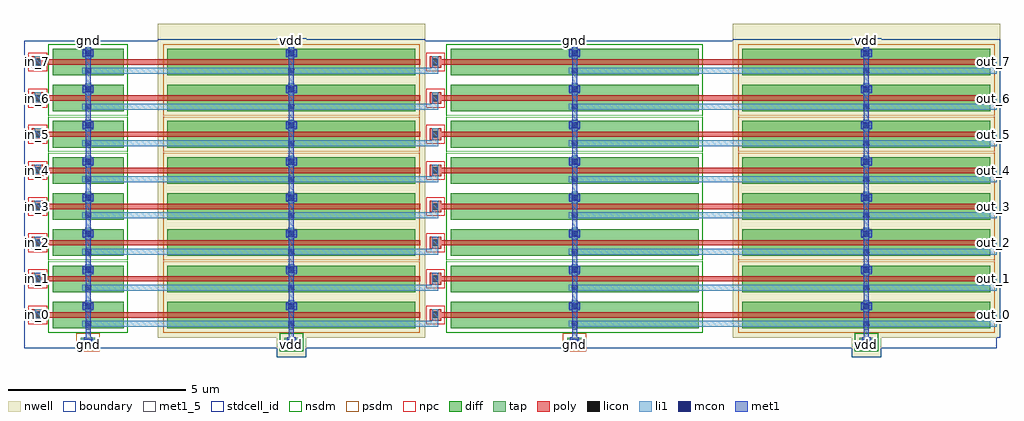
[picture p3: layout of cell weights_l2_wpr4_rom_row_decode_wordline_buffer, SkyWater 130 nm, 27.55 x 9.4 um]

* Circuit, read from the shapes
.subckt weights_l2_wpr4_rom_row_decode_wordline_buffer gnd in_0 in_1 in_2 in_3 in_4 in_5 in_6 in_7 out_0 out_1 out_2 out_3 out_4 out_5 out_6 out_7 vdd
XM1 gnd in_0 weights_l2_wpr4_pbuf_dec_0/weights_l2_wpr4_pinv_dec_1_1/A gnd sky130_fd_pr__nfet_01v8 w=2 l=0.15
XM2 gnd in_1 weights_l2_wpr4_pbuf_dec_1/weights_l2_wpr4_pinv_dec_1_1/A gnd sky130_fd_pr__nfet_01v8 w=2 l=0.15
XM3 gnd in_2 weights_l2_wpr4_pbuf_dec_2/weights_l2_wpr4_pinv_dec_1_1/A gnd sky130_fd_pr__nfet_01v8 w=2 l=0.15
XM4 gnd in_3 weights_l2_wpr4_pbuf_dec_3/weights_l2_wpr4_pinv_dec_1_1/A gnd sky130_fd_pr__nfet_01v8 w=2 l=0.15
XM5 gnd in_4 weights_l2_wpr4_pbuf_dec_4/weights_l2_wpr4_pinv_dec_1_1/A gnd sky130_fd_pr__nfet_01v8 w=2 l=0.15
XM6 gnd in_5 weights_l2_wpr4_pbuf_dec_5/weights_l2_wpr4_pinv_dec_1_1/A gnd sky130_fd_pr__nfet_01v8 w=2 l=0.15
XM7 gnd in_6 weights_l2_wpr4_pbuf_dec_6/weights_l2_wpr4_pinv_dec_1_1/A gnd sky130_fd_pr__nfet_01v8 w=2 l=0.15
XM8 gnd in_7 weights_l2_wpr4_pbuf_dec_7/weights_l2_wpr4_pinv_dec_1_1/A gnd sky130_fd_pr__nfet_01v8 w=2 l=0.15
XM9 gnd weights_l2_wpr4_pbuf_dec_0/weights_l2_wpr4_pinv_dec_1_1/A out_0 gnd sky130_fd_pr__nfet_01v8 w=7 l=0.15
XM10 gnd weights_l2_wpr4_pbuf_dec_1/weights_l2_wpr4_pinv_dec_1_1/A out_1 gnd sky130_fd_pr__nfet_01v8 w=7 l=0.15
XM11 gnd weights_l2_wpr4_pbuf_dec_2/weights_l2_wpr4_pinv_dec_1_1/A out_2 gnd sky130_fd_pr__nfet_01v8 w=7 l=0.15
XM12 gnd weights_l2_wpr4_pbuf_dec_3/weights_l2_wpr4_pinv_dec_1_1/A out_3 gnd sky130_fd_pr__nfet_01v8 w=7 l=0.15
XM13 gnd weights_l2_wpr4_pbuf_dec_4/weights_l2_wpr4_pinv_dec_1_1/A out_4 gnd sky130_fd_pr__nfet_01v8 w=7 l=0.15
XM14 gnd weights_l2_wpr4_pbuf_dec_5/weights_l2_wpr4_pinv_dec_1_1/A out_5 gnd sky130_fd_pr__nfet_01v8 w=7 l=0.15
XM15 gnd weights_l2_wpr4_pbuf_dec_6/weights_l2_wpr4_pinv_dec_1_1/A out_6 gnd sky130_fd_pr__nfet_01v8 w=7 l=0.15
XM16 gnd weights_l2_wpr4_pbuf_dec_7/weights_l2_wpr4_pinv_dec_1_1/A out_7 gnd sky130_fd_pr__nfet_01v8 w=7 l=0.15
XM17 vdd in_0 weights_l2_wpr4_pbuf_dec_0/weights_l2_wpr4_pinv_dec_1_1/A vdd sky130_fd_pr__pfet_01v8 w=7 l=0.15
XM18 vdd in_1 weights_l2_wpr4_pbuf_dec_1/weights_l2_wpr4_pinv_dec_1_1/A vdd sky130_fd_pr__pfet_01v8 w=7 l=0.15
XM19 vdd in_2 weights_l2_wpr4_pbuf_dec_2/weights_l2_wpr4_pinv_dec_1_1/A vdd sky130_fd_pr__pfet_01v8 w=7 l=0.15
XM20 vdd in_3 weights_l2_wpr4_pbuf_dec_3/weights_l2_wpr4_pinv_dec_1_1/A vdd sky130_fd_pr__pfet_01v8 w=7 l=0.15
XM21 vdd in_4 weights_l2_wpr4_pbuf_dec_4/weights_l2_wpr4_pinv_dec_1_1/A vdd sky130_fd_pr__pfet_01v8 w=7 l=0.15
XM22 vdd in_5 weights_l2_wpr4_pbuf_dec_5/weights_l2_wpr4_pinv_dec_1_1/A vdd sky130_fd_pr__pfet_01v8 w=7 l=0.15
XM23 vdd in_6 weights_l2_wpr4_pbuf_dec_6/weights_l2_wpr4_pinv_dec_1_1/A vdd sky130_fd_pr__pfet_01v8 w=7 l=0.15
XM24 vdd in_7 weights_l2_wpr4_pbuf_dec_7/weights_l2_wpr4_pinv_dec_1_1/A vdd sky130_fd_pr__pfet_01v8 w=7 l=0.15
XM25 vdd weights_l2_wpr4_pbuf_dec_0/weights_l2_wpr4_pinv_dec_1_1/A out_0 vdd sky130_fd_pr__pfet_01v8 w=7 l=0.15
XM26 vdd weights_l2_wpr4_pbuf_dec_1/weights_l2_wpr4_pinv_dec_1_1/A out_1 vdd sky130_fd_pr__pfet_01v8 w=7 l=0.15
XM27 vdd weights_l2_wpr4_pbuf_dec_2/weights_l2_wpr4_pinv_dec_1_1/A out_2 vdd sky130_fd_pr__pfet_01v8 w=7 l=0.15
XM28 vdd weights_l2_wpr4_pbuf_dec_3/weights_l2_wpr4_pinv_dec_1_1/A out_3 vdd sky130_fd_pr__pfet_01v8 w=7 l=0.15
XM29 vdd weights_l2_wpr4_pbuf_dec_4/weights_l2_wpr4_pinv_dec_1_1/A out_4 vdd sky130_fd_pr__pfet_01v8 w=7 l=0.15
XM30 vdd weights_l2_wpr4_pbuf_dec_5/weights_l2_wpr4_pinv_dec_1_1/A out_5 vdd sky130_fd_pr__pfet_01v8 w=7 l=0.15
XM31 vdd weights_l2_wpr4_pbuf_dec_6/weights_l2_wpr4_pinv_dec_1_1/A out_6 vdd sky130_fd_pr__pfet_01v8 w=7 l=0.15
XM32 vdd weights_l2_wpr4_pbuf_dec_7/weights_l2_wpr4_pinv_dec_1_1/A out_7 vdd sky130_fd_pr__pfet_01v8 w=7 l=0.15
.ends

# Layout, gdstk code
from math import pi, radians
import gdstk
lib = gdstk.Library(unit=1e-6, precision=1e-09)
def R(c, l, rs):  # rectangles x0, y0, x1, y1
    for r in rs: c.add(gdstk.rectangle(r[:2], r[2:], *l))
def A(c, l, x, y, w, h, nx, ny, dx, dy):  # array of equal rectangles
    R(c, l, [(x+i*dx, y+j*dy, x+i*dx+w, y+j*dy+h) for i in range(nx) for j in range(ny)])
nwell = (64, 20)
diff = (65, 20)
tap = (65, 44)
poly = (66, 20)
licon = (66, 44)
li1 = (67, 20)
mcon = (67, 44)
met1_5 = (68, 5)
met1 = (68, 20)
stdcell_id = (81, 4)
nsdm = (93, 44)
psdm = (94, 20)
npc = (95, 20)
boundary = (235, 4)

weights_l2_wpr4_contact_ = lib.new_cell('weights_l2_wpr4_contact_10')
R(weights_l2_wpr4_contact_, nwell, [(-0.295,-0.255,0.545,0.585)])
R(weights_l2_wpr4_contact_, diff, [(0,0.02,0.25,0.31)])
R(weights_l2_wpr4_contact_, licon, [(0.04,0.08,0.21,0.25)])
R(weights_l2_wpr4_contact_, li1, [(0.04,0,0.21,0.33)])
R(weights_l2_wpr4_contact_, stdcell_id, [(-0.295,-0.255,0.545,0.585)])
R(weights_l2_wpr4_contact_, psdm, [(-0.125,-0.105,0.375,0.435)])
R(weights_l2_wpr4_contact_, boundary, [(-0.295,-0.255,0.545,0.585)])

weights_l2_wpr4_pmos_m1_ = lib.new_cell('weights_l2_wpr4_pmos_m1_w7_000_sli_dli_da_p')
R(weights_l2_wpr4_pmos_m1_, nwell, [(-0.27,-0.27,1.02,7.27)])
R(weights_l2_wpr4_pmos_m1_, diff, [(0,0,0.75,7)])
R(weights_l2_wpr4_pmos_m1_, poly, [(0.3,-0.13,0.45,7.13), (0.3,-0.13,0.45,7.13)])
R(weights_l2_wpr4_pmos_m1_, li1, [(0.04,3.335,0.21,3.665), (0.54,3.335,0.71,3.665)])
R(weights_l2_wpr4_pmos_m1_, stdcell_id, [(-0.27,-0.27,1.02,7.27)])
R(weights_l2_wpr4_pmos_m1_, psdm, [(-0.125,-0.125,0.875,7.125)])
R(weights_l2_wpr4_pmos_m1_, boundary, [(-0.27,-0.27,1.02,7.27)])
weights_l2_wpr4_pmos_m1_.add(gdstk.Reference(weights_l2_wpr4_contact_, (0,3.335)))
weights_l2_wpr4_pmos_m1_.add(gdstk.Reference(weights_l2_wpr4_contact_, (0.5,3.335)))
weights_l2_wpr4_pmos_m1_.add(gdstk.Label('G', (0.375,3.5), layer=66, texttype=5))
weights_l2_wpr4_pmos_m1_.add(gdstk.Label('S', (0.125,3.5), layer=67, texttype=5))
weights_l2_wpr4_pmos_m1_.add(gdstk.Label('D', (0.625,3.5), layer=67, texttype=5))

c_weights_l2_wpr4_contact_ = lib.new_cell('weights_l2_wpr4_contact_8')
R(c_weights_l2_wpr4_contact_, diff, [(0,0.02,0.25,0.31)])
R(c_weights_l2_wpr4_contact_, licon, [(0.04,0.08,0.21,0.25)])
R(c_weights_l2_wpr4_contact_, li1, [(0.04,0,0.21,0.33)])
R(c_weights_l2_wpr4_contact_, stdcell_id, [(-0.125,-0.105,0.375,0.435)])
R(c_weights_l2_wpr4_contact_, nsdm, [(-0.125,-0.105,0.375,0.435)])
R(c_weights_l2_wpr4_contact_, boundary, [(-0.125,-0.105,0.375,0.435)])

weights_l2_wpr4_nmos_m1_ = lib.new_cell('weights_l2_wpr4_nmos_m1_w2_000_sli_dli_da_p')
R(weights_l2_wpr4_nmos_m1_, diff, [(0,0,0.75,2)])
R(weights_l2_wpr4_nmos_m1_, poly, [(0.3,-0.13,0.45,2.13), (0.3,-0.13,0.45,2.13)])
R(weights_l2_wpr4_nmos_m1_, li1, [(0.04,0.835,0.21,1.165), (0.54,0.835,0.71,1.165)])
R(weights_l2_wpr4_nmos_m1_, stdcell_id, [(-0.125,-0.13,0.875,2.13)])
R(weights_l2_wpr4_nmos_m1_, nsdm, [(-0.125,-0.125,0.875,2.125)])
R(weights_l2_wpr4_nmos_m1_, boundary, [(-0.125,-0.13,0.875,2.13)])
weights_l2_wpr4_nmos_m1_.add(gdstk.Reference(c_weights_l2_wpr4_contact_, (0,0.835)))
weights_l2_wpr4_nmos_m1_.add(gdstk.Reference(c_weights_l2_wpr4_contact_, (0.5,0.835)))
weights_l2_wpr4_nmos_m1_.add(gdstk.Label('G', (0.375,1), layer=66, texttype=5))
weights_l2_wpr4_nmos_m1_.add(gdstk.Label('S', (0.125,1), layer=67, texttype=5))
weights_l2_wpr4_nmos_m1_.add(gdstk.Label('D', (0.625,1), layer=67, texttype=5))

c_weights_l2_wpr4_contact__ = lib.new_cell('weights_l2_wpr4_contact_11')
R(c_weights_l2_wpr4_contact__, poly, [(0,0,0.33,0.33)])
R(c_weights_l2_wpr4_contact__, licon, [(0.08,0.08,0.25,0.25)])
R(c_weights_l2_wpr4_contact__, li1, [(0.08,0,0.25,0.33)])
R(c_weights_l2_wpr4_contact__, stdcell_id, [(-0.1,-0.1,0.43,0.43)])
R(c_weights_l2_wpr4_contact__, npc, [(-0.1,-0.1,0.43,0.43)])
R(c_weights_l2_wpr4_contact__, boundary, [(-0.1,-0.1,0.43,0.43)])

c_weights_l2_wpr4_contact___ = lib.new_cell('weights_l2_wpr4_contact_12')
R(c_weights_l2_wpr4_contact___, li1, [(0.06,0,0.23,0.33)])
R(c_weights_l2_wpr4_contact___, mcon, [(0.06,0.08,0.23,0.25)])
R(c_weights_l2_wpr4_contact___, met1, [(0,0.05,0.29,0.28)])
R(c_weights_l2_wpr4_contact___, stdcell_id, [(0,0,0.29,0.33)])
R(c_weights_l2_wpr4_contact___, boundary, [(0,0,0.29,0.33)])

weights_l2_wpr4_pinv_dec = lib.new_cell('weights_l2_wpr4_pinv_dec_0')
R(weights_l2_wpr4_pinv_dec, nwell, [(3.78,0,11.32,1.495)])
R(weights_l2_wpr4_pinv_dec, poly, [(0.385,0.345,0.68,0.495), (2.94,0.345,3.92,0.495)])
R(weights_l2_wpr4_pinv_dec, li1, [(1.645,0.085,11.23,0.255), (0.3,0.255,0.47,0.585)])
R(weights_l2_wpr4_pinv_dec, met1_5, [(1.74,0,1.88,1.02), (7.48,0,7.62,1.02)])
R(weights_l2_wpr4_pinv_dec, met1, [(1.74,0,1.88,1.02), (7.48,0,7.62,1.02)])
R(weights_l2_wpr4_pinv_dec, stdcell_id, [(0,0,11.23,1.02), (0,0,11.23,1.02)])
R(weights_l2_wpr4_pinv_dec, nsdm, [(0.685,0,2.935,0.795)])
R(weights_l2_wpr4_pinv_dec, psdm, [(3.925,0,11.175,0.795)])
R(weights_l2_wpr4_pinv_dec, boundary, [(0,0,11.23,1.02), (0,0,11.23,1.02)])
weights_l2_wpr4_pinv_dec.add(gdstk.Reference(weights_l2_wpr4_pmos_m1_, (4.05,0.795), rotation=3*pi/2))
weights_l2_wpr4_pinv_dec.add(gdstk.Reference(weights_l2_wpr4_nmos_m1_, (0.81,0.795), rotation=3*pi/2))
weights_l2_wpr4_pinv_dec.add(gdstk.Reference(c_weights_l2_wpr4_contact__, (0.22,0.255)))
weights_l2_wpr4_pinv_dec.add(gdstk.Reference(c_weights_l2_wpr4_contact___, (1.665,0.505)))
weights_l2_wpr4_pinv_dec.add(gdstk.Reference(c_weights_l2_wpr4_contact___, (7.405,0.505)))
weights_l2_wpr4_pinv_dec.add(gdstk.Label('A', (0.385,0.42), layer=67, texttype=5))
weights_l2_wpr4_pinv_dec.add(gdstk.Label('Z', (6.438,0.17), layer=67, texttype=5))
weights_l2_wpr4_pinv_dec.add(gdstk.Label('gnd', (1.81,0.51), layer=68, texttype=5))
weights_l2_wpr4_pinv_dec.add(gdstk.Label('vdd', (7.55,0.51), layer=68, texttype=5))

c_weights_l2_wpr4_nmos_m1_ = lib.new_cell('weights_l2_wpr4_nmos_m1_w7_000_sli_dli_da_p')
R(c_weights_l2_wpr4_nmos_m1_, diff, [(0,0,0.75,7)])
R(c_weights_l2_wpr4_nmos_m1_, poly, [(0.3,-0.13,0.45,7.13), (0.3,-0.13,0.45,7.13)])
R(c_weights_l2_wpr4_nmos_m1_, li1, [(0.04,3.335,0.21,3.665), (0.54,3.335,0.71,3.665)])
R(c_weights_l2_wpr4_nmos_m1_, stdcell_id, [(-0.125,-0.13,0.875,7.13)])
R(c_weights_l2_wpr4_nmos_m1_, nsdm, [(-0.125,-0.125,0.875,7.125)])
R(c_weights_l2_wpr4_nmos_m1_, boundary, [(-0.125,-0.13,0.875,7.13)])
c_weights_l2_wpr4_nmos_m1_.add(gdstk.Reference(c_weights_l2_wpr4_contact_, (0,3.335)))
c_weights_l2_wpr4_nmos_m1_.add(gdstk.Reference(c_weights_l2_wpr4_contact_, (0.5,3.335)))
c_weights_l2_wpr4_nmos_m1_.add(gdstk.Label('G', (0.375,3.5), layer=66, texttype=5))
c_weights_l2_wpr4_nmos_m1_.add(gdstk.Label('S', (0.125,3.5), layer=67, texttype=5))
c_weights_l2_wpr4_nmos_m1_.add(gdstk.Label('D', (0.625,3.5), layer=67, texttype=5))

c_weights_l2_wpr4_pinv_dec = lib.new_cell('weights_l2_wpr4_pinv_dec_1')
R(c_weights_l2_wpr4_pinv_dec, nwell, [(8.78,0,16.32,1.495)])
R(c_weights_l2_wpr4_pinv_dec, poly, [(0.385,0.345,0.68,0.495), (7.94,0.345,8.92,0.495)])
R(c_weights_l2_wpr4_pinv_dec, li1, [(4.145,0.085,16.23,0.255), (0.3,0.255,0.47,0.585)])
R(c_weights_l2_wpr4_pinv_dec, met1_5, [(4.24,0,4.38,1.02), (12.48,0,12.62,1.02)])
R(c_weights_l2_wpr4_pinv_dec, met1, [(4.24,0,4.38,1.02), (12.48,0,12.62,1.02)])
R(c_weights_l2_wpr4_pinv_dec, stdcell_id, [(0,0,16.23,1.02), (0,0,16.23,1.02)])
R(c_weights_l2_wpr4_pinv_dec, nsdm, [(0.685,0,7.935,0.795)])
R(c_weights_l2_wpr4_pinv_dec, psdm, [(8.925,0,16.175,0.795)])
R(c_weights_l2_wpr4_pinv_dec, boundary, [(0,0,16.23,1.02), (0,0,16.23,1.02)])
c_weights_l2_wpr4_pinv_dec.add(gdstk.Reference(weights_l2_wpr4_pmos_m1_, (9.05,0.795), rotation=3*pi/2))
c_weights_l2_wpr4_pinv_dec.add(gdstk.Reference(c_weights_l2_wpr4_nmos_m1_, (0.81,0.795), rotation=3*pi/2))
c_weights_l2_wpr4_pinv_dec.add(gdstk.Reference(c_weights_l2_wpr4_contact__, (0.22,0.255)))
c_weights_l2_wpr4_pinv_dec.add(gdstk.Reference(c_weights_l2_wpr4_contact___, (4.165,0.505)))
c_weights_l2_wpr4_pinv_dec.add(gdstk.Reference(c_weights_l2_wpr4_contact___, (12.405,0.505)))
c_weights_l2_wpr4_pinv_dec.add(gdstk.Label('A', (0.385,0.42), layer=67, texttype=5))
c_weights_l2_wpr4_pinv_dec.add(gdstk.Label('Z', (10.188,0.17), layer=67, texttype=5))
c_weights_l2_wpr4_pinv_dec.add(gdstk.Label('gnd', (4.31,0.51), layer=68, texttype=5))
c_weights_l2_wpr4_pinv_dec.add(gdstk.Label('vdd', (12.55,0.51), layer=68, texttype=5))

weights_l2_wpr4_pbuf_dec = lib.new_cell('weights_l2_wpr4_pbuf_dec')
R(weights_l2_wpr4_pbuf_dec, li1, [(11.23,0.085,11.615,0.255), (11.53,0.085,11.7,0.255), (15.375,0.085,27.46,0.255), (11.53,0.17,11.7,0.42), (0.3,0.255,0.47,0.585), (11.53,0.335,11.7,0.505), (11.53,0.335,11.615,0.505)])
R(weights_l2_wpr4_pbuf_dec, met1_5, [(1.74,0,1.88,1.02), (7.48,0,7.62,1.02), (15.47,0,15.61,1.02), (23.71,0,23.85,1.02)])
R(weights_l2_wpr4_pbuf_dec, met1, [(1.74,0,1.88,1.02), (7.48,0,7.62,1.02), (15.47,0,15.61,1.02), (23.71,0,23.85,1.02)])
R(weights_l2_wpr4_pbuf_dec, stdcell_id, [(0,0,27.46,1.02), (0,0,27.46,1.02)])
R(weights_l2_wpr4_pbuf_dec, boundary, [(0,0,27.46,1.02), (0,0,27.46,1.02)])
weights_l2_wpr4_pbuf_dec.add(gdstk.Reference(weights_l2_wpr4_pinv_dec, (0,0)))
weights_l2_wpr4_pbuf_dec.add(gdstk.Reference(c_weights_l2_wpr4_pinv_dec, (11.23,0)))
weights_l2_wpr4_pbuf_dec.add(gdstk.Label('Z', (21.418,0.17), layer=67, texttype=5))
weights_l2_wpr4_pbuf_dec.add(gdstk.Label('A', (0.385,0.42), layer=67, texttype=5))
weights_l2_wpr4_pbuf_dec.add(gdstk.Label('vdd', (7.55,0.51), layer=68, texttype=5))
weights_l2_wpr4_pbuf_dec.add(gdstk.Label('vdd', (23.78,0.51), layer=68, texttype=5))
weights_l2_wpr4_pbuf_dec.add(gdstk.Label('gnd', (1.81,0.51), layer=68, texttype=5))
weights_l2_wpr4_pbuf_dec.add(gdstk.Label('gnd', (15.54,0.51), layer=68, texttype=5))

c_weights_l2_wpr4_contact____ = lib.new_cell('weights_l2_wpr4_contact_15')
R(c_weights_l2_wpr4_contact____, nwell, [(-0.215,-0.295,0.625,0.545)])
R(c_weights_l2_wpr4_contact____, tap, [(0,0,0.41,0.25)])
R(c_weights_l2_wpr4_contact____, licon, [(0.12,0.04,0.29,0.21)])
R(c_weights_l2_wpr4_contact____, li1, [(0.04,0.04,0.37,0.21)])
R(c_weights_l2_wpr4_contact____, stdcell_id, [(-0.215,-0.295,0.625,0.545)])
R(c_weights_l2_wpr4_contact____, nsdm, [(-0.125,-0.125,0.535,0.375)])
R(c_weights_l2_wpr4_contact____, boundary, [(-0.215,-0.295,0.625,0.545)])

c_weights_l2_wpr4_contact_____ = lib.new_cell('weights_l2_wpr4_contact_17')
R(c_weights_l2_wpr4_contact_____, li1, [(0,0.06,0.33,0.23)])
R(c_weights_l2_wpr4_contact_____, mcon, [(0.08,0.06,0.25,0.23)])
R(c_weights_l2_wpr4_contact_____, met1, [(0.05,0,0.28,0.29)])
R(c_weights_l2_wpr4_contact_____, stdcell_id, [(0,0,0.33,0.29)])
R(c_weights_l2_wpr4_contact_____, boundary, [(0,0,0.33,0.29)])

c_weights_l2_wpr4_contact______ = lib.new_cell('weights_l2_wpr4_contact_16')
R(c_weights_l2_wpr4_contact______, tap, [(0,0,0.41,0.25)])
R(c_weights_l2_wpr4_contact______, licon, [(0.12,0.04,0.29,0.21)])
R(c_weights_l2_wpr4_contact______, li1, [(0.04,0.04,0.37,0.21)])
R(c_weights_l2_wpr4_contact______, stdcell_id, [(-0.125,-0.125,0.535,0.375)])
R(c_weights_l2_wpr4_contact______, psdm, [(-0.125,-0.125,0.535,0.375)])
R(c_weights_l2_wpr4_contact______, boundary, [(-0.125,-0.125,0.535,0.375)])

weights_l2_wpr4_rom_row_ = lib.new_cell('weights_l2_wpr4_rom_row_decode_wordline_buffer')
A(weights_l2_wpr4_rom_row_, li1, 27.29, 0.69, 0.17, 0.335, 1, 8, 0, 1.02)
A(weights_l2_wpr4_rom_row_, li1, 0.3, 0.775, 0.17, 0.33, 1, 8, 0, 1.02)
A(weights_l2_wpr4_rom_row_, li1, 27.29, 0.855, 0.17, 0.17, 1, 8, 0, 1.02)
R(weights_l2_wpr4_rom_row_, met1_5, [(1.74,0.03,1.88,0.17), (7.48,0.03,7.62,0.17), (15.47,0.03,15.61,0.17), (23.71,0.03,23.85,0.17), (1.74,8.61,1.88,8.75), (7.48,8.61,7.62,8.75), (15.47,8.61,15.61,8.75), (23.71,8.61,23.85,8.75)])
A(weights_l2_wpr4_rom_row_, met1, 1.74, 0.96, 0.14, 0.14, 1, 8, 0, 1.02)
A(weights_l2_wpr4_rom_row_, met1, 7.48, 0.96, 0.14, 0.14, 1, 8, 0, 1.02)
A(weights_l2_wpr4_rom_row_, met1, 15.47, 0.96, 0.14, 0.14, 1, 8, 0, 1.02)
A(weights_l2_wpr4_rom_row_, met1, 23.71, 0.96, 0.14, 0.14, 1, 8, 0, 1.02)
R(weights_l2_wpr4_rom_row_, met1, [(1.74,0.03,1.88,0.17), (1.74,0.03,1.88,8.75), (7.48,0.03,7.62,0.17), (7.48,0.03,7.62,8.75), (15.47,0.03,15.61,0.17), (15.47,0.03,15.61,8.75), (23.71,0.03,23.85,0.17), (23.71,0.03,23.85,8.75), (1.74,0.1,1.88,0.24), (7.48,0.1,7.62,0.24), (15.47,0.1,15.61,0.24), (23.71,0.1,23.85,0.24), (1.74,8.61,1.88,8.75), (7.48,8.61,7.62,8.75), (15.47,8.61,15.61,8.75), (23.71,8.61,23.85,8.75)])
R(weights_l2_wpr4_rom_row_, stdcell_id, [(0,0,27.46,8.16)])
R(weights_l2_wpr4_rom_row_, boundary, [(0,0,27.46,8.16)])
weights_l2_wpr4_rom_row_.add(gdstk.Reference(weights_l2_wpr4_pbuf_dec, (0,0.52)))
weights_l2_wpr4_rom_row_.add(gdstk.Reference(weights_l2_wpr4_pbuf_dec, (0,1.54)))
weights_l2_wpr4_rom_row_.add(gdstk.Reference(weights_l2_wpr4_pbuf_dec, (0,2.56)))
weights_l2_wpr4_rom_row_.add(gdstk.Reference(weights_l2_wpr4_pbuf_dec, (0,3.58)))
weights_l2_wpr4_rom_row_.add(gdstk.Reference(weights_l2_wpr4_pbuf_dec, (0,4.6)))
weights_l2_wpr4_rom_row_.add(gdstk.Reference(weights_l2_wpr4_pbuf_dec, (0,5.62)))
weights_l2_wpr4_rom_row_.add(gdstk.Reference(weights_l2_wpr4_pbuf_dec, (0,6.64)))
weights_l2_wpr4_rom_row_.add(gdstk.Reference(weights_l2_wpr4_pbuf_dec, (0,7.66)))
weights_l2_wpr4_rom_row_.add(gdstk.Reference(c_weights_l2_wpr4_contact____, (7.345,0.045)))
weights_l2_wpr4_rom_row_.add(gdstk.Reference(c_weights_l2_wpr4_contact_____, (7.385,0.025)))
weights_l2_wpr4_rom_row_.add(gdstk.Reference(c_weights_l2_wpr4_contact______, (1.605,0.045)))
weights_l2_wpr4_rom_row_.add(gdstk.Reference(c_weights_l2_wpr4_contact_____, (1.645,0.025)))
weights_l2_wpr4_rom_row_.add(gdstk.Reference(c_weights_l2_wpr4_contact____, (23.575,0.045)))
weights_l2_wpr4_rom_row_.add(gdstk.Reference(c_weights_l2_wpr4_contact_____, (23.615,0.025)))
weights_l2_wpr4_rom_row_.add(gdstk.Reference(c_weights_l2_wpr4_contact______, (15.335,0.045)))
weights_l2_wpr4_rom_row_.add(gdstk.Reference(c_weights_l2_wpr4_contact_____, (15.375,0.025)))
weights_l2_wpr4_rom_row_.add(gdstk.Label('in_0', (0.385,0.94), layer=67, texttype=5))
weights_l2_wpr4_rom_row_.add(gdstk.Label('out_0', (27.375,0.94), layer=67, texttype=5))
weights_l2_wpr4_rom_row_.add(gdstk.Label('in_1', (0.385,1.96), layer=67, texttype=5))
weights_l2_wpr4_rom_row_.add(gdstk.Label('out_1', (27.375,1.96), layer=67, texttype=5))
weights_l2_wpr4_rom_row_.add(gdstk.Label('in_2', (0.385,2.98), layer=67, texttype=5))
weights_l2_wpr4_rom_row_.add(gdstk.Label('out_2', (27.375,2.98), layer=67, texttype=5))
weights_l2_wpr4_rom_row_.add(gdstk.Label('in_3', (0.385,4), layer=67, texttype=5))
weights_l2_wpr4_rom_row_.add(gdstk.Label('out_3', (27.375,4), layer=67, texttype=5))
weights_l2_wpr4_rom_row_.add(gdstk.Label('in_4', (0.385,5.02), layer=67, texttype=5))
weights_l2_wpr4_rom_row_.add(gdstk.Label('out_4', (27.375,5.02), layer=67, texttype=5))
weights_l2_wpr4_rom_row_.add(gdstk.Label('in_5', (0.385,6.04), layer=67, texttype=5))
weights_l2_wpr4_rom_row_.add(gdstk.Label('out_5', (27.375,6.04), layer=67, texttype=5))
weights_l2_wpr4_rom_row_.add(gdstk.Label('in_6', (0.385,7.06), layer=67, texttype=5))
weights_l2_wpr4_rom_row_.add(gdstk.Label('out_6', (27.375,7.06), layer=67, texttype=5))
weights_l2_wpr4_rom_row_.add(gdstk.Label('in_7', (0.385,8.08), layer=67, texttype=5))
weights_l2_wpr4_rom_row_.add(gdstk.Label('out_7', (27.375,8.08), layer=67, texttype=5))
weights_l2_wpr4_rom_row_.add(gdstk.Label('gnd', (15.54,0.1), layer=68, texttype=5))
weights_l2_wpr4_rom_row_.add(gdstk.Label('gnd', (15.54,8.68), layer=68, texttype=5))
weights_l2_wpr4_rom_row_.add(gdstk.Label('gnd', (1.81,0.1), layer=68, texttype=5))
weights_l2_wpr4_rom_row_.add(gdstk.Label('gnd', (1.81,8.68), layer=68, texttype=5))
weights_l2_wpr4_rom_row_.add(gdstk.Label('vdd', (7.55,8.68), layer=68, texttype=5))
weights_l2_wpr4_rom_row_.add(gdstk.Label('vdd', (23.78,0.1), layer=68, texttype=5))
weights_l2_wpr4_rom_row_.add(gdstk.Label('vdd', (23.78,8.68), layer=68, texttype=5))
weights_l2_wpr4_rom_row_.add(gdstk.Label('vdd', (7.55,0.1), layer=68, texttype=5))

lib.write_gds('weights_l2_wpr4_rom_row_decode_wordline_buffer.gds')
